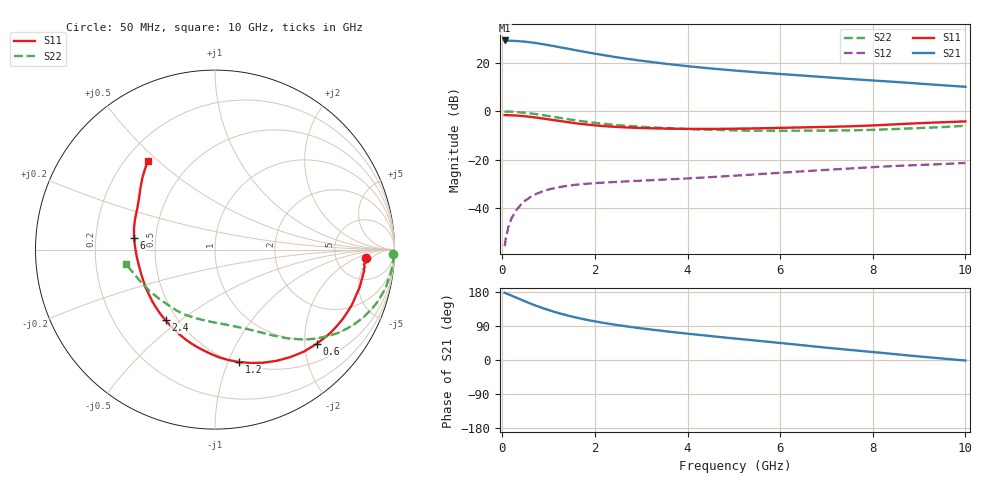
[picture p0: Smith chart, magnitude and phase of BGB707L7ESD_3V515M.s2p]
!  Infineon Technologies AG
!  BGB707L7ESD
!  Vce = 3.5V, Ic = 15.0mA
!  DATUM: 30.06.2009 10:57:18
# GHz  S  MA  R  50
!f  S11  S21  S12  S22
!GHz  Mag  Ang  Mag  Ang  Mag  Ang  Mag  Ang
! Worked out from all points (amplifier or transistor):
!   52 points, 50 MHz to 10 GHz, reference 50 ohm
!   highest |S21| = 29.5 dB at 60 MHz (marker M1)
!   |S21| within 3 dB of that: start of sweep to 1.297 GHz
!   unconditionally stable (mu >= 1): 4.765 GHz to 8.725 GHz
!   at 130 MHz: K = 0.04, MSG = 38.7 dB, |S12| = -47.9 dB
!   at 1.4 GHz: K = 0.36, MSG = 28.5 dB, |S12| = -30.9 dB
!   at 10 GHz: K = 0.92, MSG = 15.8 dB, |S12| = -21.4 dB
!   S11 on the Smith chart (normalised r, x): 50 MHz: 11, -4; 600 MHz: 0.87, -2.28; 1.2 GHz: 0.52, -1.10; 2.4 GHz: 0.43, -0.44; 6 GHz: 0.38, +0.06; 10 GHz: 0.29, +0.46
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0.05  0.843 -3.3  29.31 177.4  0.001592 77.8  0.9931 -1.6
0.06  0.8419 -4.5  29.82 176.8  0.001759 88.6  0.9937 -2.1
0.08  0.8339 -5.7  29.33 175.7  0.002476 83.7  0.9939 -3.1
0.13  0.8361 -9.6  29.6 173.4  0.004009 84.2  0.9923 -5.4
0.3  0.8228 -21.8  29.09 164.7  0.008883 77.9  0.9747 -12.5
0.45  0.8008 -32.3  28.41 156.8  0.01286 73.0  0.9471 -18.5
0.6  0.7737 -42.6  27.33 149.3  0.01652 67.7  0.9118 -24.1
0.7  0.7534 -49.1  26.59 144.5  0.01869 64.6  0.8854 -27.6
0.9  0.7076 -61.2  24.71 135.8  0.02236 59.0  0.8297 -33.9
1.2  0.641 -77.7  21.95 124.3  0.02649 52.6  0.7462 -41.6
1.5  0.583 -92.0  19.39 114.7  0.02933 48.1  0.6721 -47.8
1.8  0.5384 -104.5  17.15 106.7  0.03136 45.0  0.6127 -52.9
2  0.5144 -112.0  15.85 101.9  0.03245 43.6  0.5798 -55.7
2.4  0.481 -125.0  13.69 93.7  0.03416 42.0  0.529 -60.8
2.8  0.4599 -136.0  12.03 86.7  0.03575 41.6  0.4934 -65.5
3.5  0.4409 -151.3  9.84 76.2  0.03846 42.5  0.452 -73.1
4.5  0.4333 -168.1  7.816 63.1  0.04328 44.9  0.4165 -84.2
5.5  0.4456 178.1  6.502 51.0  0.04959 46.8  0.3988 -98.0
6  0.4559 171.6  5.997 45.0  0.05324 47.3  0.3967 -105.5
7  0.478 158.4  5.127 32.5  0.06119 46.8  0.4014 -122.2
8.5  0.541 140.0  4.096 15.2  0.07385 43.6  0.4321 -147.8
10  0.6213 127.1  3.256 -1.4  0.08503 39.7  0.5043 -171.0
